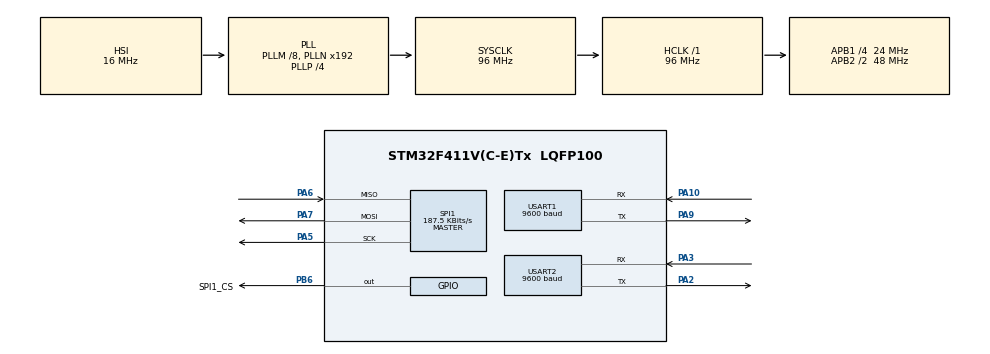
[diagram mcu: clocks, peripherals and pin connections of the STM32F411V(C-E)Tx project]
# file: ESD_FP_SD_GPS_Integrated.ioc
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Mcu.Family=STM32F4
Mcu.Name=STM32F411V(C-E)Tx
Mcu.Package=LQFP100
NVIC.PriorityGroup=NVIC_PRIORITYGROUP_0
NVIC.USART1_IRQn=true\:0\:0\:false\:false\:true\:true\:true\:true
PA10.Mode=Asynchronous
PA10.Signal=USART1_RX
PA13.Mode=Serial_Wire
PA13.Signal=SYS_JTMS-SWDIO
PA14.Mode=Serial_Wire
PA14.Signal=SYS_JTCK-SWCLK
PA2.Mode=Asynchronous
PA2.Signal=USART2_TX
PA3.Mode=Asynchronous
PA3.Signal=USART2_RX
PA5.GPIO_PuPd=GPIO_PULLUP
PA5.Mode=Full_Duplex_Master
PA5.Signal=SPI1_SCK
PA6.GPIO_PuPd=GPIO_PULLUP
PA6.Mode=Full_Duplex_Master
PA6.Signal=SPI1_MISO
PA7.GPIO_PuPd=GPIO_PULLUP
PA7.Mode=Full_Duplex_Master
PA7.Signal=SPI1_MOSI
PA9.Mode=Asynchronous
PA9.Signal=USART1_TX
PB6.GPIO_Label=SPI1_CS
PB6.GPIO_PuPd=GPIO_PULLUP
PB6.PinState=GPIO_PIN_SET
PB6.Signal=GPIO_Output
PC14-OSC32_IN.Mode=LSE-External-Oscillator
PC14-OSC32_IN.Signal=RCC_OSC32_IN
PC15-OSC32_OUT.Mode=LSE-External-Oscillator
PC15-OSC32_OUT.Signal=RCC_OSC32_OUT
PH0\ -\ OSC_IN.Mode=HSE-External-Oscillator
PH0\ -\ OSC_IN.Signal=RCC_OSC_IN
PH1\ -\ OSC_OUT.Mode=HSE-External-Oscillator
PH1\ -\ OSC_OUT.Signal=RCC_OSC_OUT
ProjectManager.HeapSize=0x200
ProjectManager.StackSize=0x400
ProjectManager.TargetToolchain=STM32CubeIDE
RCC.48MHZClocksFreq_Value=48000000
RCC.AHBFreq_Value=96000000
RCC.APB1CLKDivider=RCC_HCLK_DIV4
RCC.APB1Freq_Value=24000000
RCC.APB1TimFreq_Value=48000000
RCC.APB2CLKDivider=RCC_HCLK_DIV2
RCC.APB2Freq_Value=48000000
RCC.APB2TimFreq_Value=96000000
RCC.CortexFreq_Value=96000000
RCC.HCLKFreq_Value=96000000
RCC.HSE_VALUE=8000000
RCC.HSI_VALUE=16000000
RCC.PLLI2SM=5
RCC.PLLI2SN=200
RCC.PLLM=8
RCC.PLLP=RCC_PLLP_DIV4
RCC.PLLQ=8
RCC.SYSCLKFreq_VALUE=96000000
RCC.SYSCLKSource=RCC_SYSCLKSOURCE_PLLCLK
RCC.VCOOutputFreq_Value=384000000
SPI1.BaudRatePrescaler=SPI_BAUDRATEPRESCALER_256
SPI1.CalculateBaudRate=187.5 KBits/s
SPI1.Direction=SPI_DIRECTION_2LINES
SPI1.Mode=SPI_MODE_MASTER
SPI1.VirtualType=VM_MASTER
USART1.BaudRate=9600
USART1.VirtualMode=VM_ASYNC
USART2.BaudRate=9600
USART2.VirtualMode=VM_ASYNC
VP_FATFS_VS_Generic.Mode=User_defined
board=STM32F411E-DISCO

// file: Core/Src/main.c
/* USER CODE BEGIN Header */
/**
  ******************************************************************************
  * @file           : main.c
  * @brief          : Main program body
  ******************************************************************************
  * @attention
  *
  * Copyright (c) 2024 STMicroelectronics.
  * All rights reserved.
  *
  * This software is licensed under terms that can be found in the LICENSE file
  * in the root directory of this software component.
  * If no LICENSE file comes with this software, it is provided AS-IS.
  *
  ******************************************************************************
  */
/* USER CODE END Header */
#include "main.h"
#include "fatfs.h"

/* USER CODE BEGIN Includes */
#include <stdio.h>
#include <string.h>
#include <stdarg.h>
#include "uartRingBuffer.h"
#include "NMEA.h"
/* USER CODE END Includes */

SPI_HandleTypeDef hspi1;

UART_HandleTypeDef huart1;
UART_HandleTypeDef huart2;

/* USER CODE BEGIN PV */
void myprintf(const char *fmt, ...);
/* USER CODE END PV */

void SystemClock_Config(void);
static void MX_GPIO_Init(void);
static void MX_SPI1_Init(void);
static void MX_USART1_UART_Init(void);
static void MX_USART2_UART_Init(void);

/* USER CODE BEGIN 0 */
void myprintf(const char *fmt, ...) {
  static char buffer[256];
  va_list args;
  va_start(args, fmt);
  vsnprintf(buffer, sizeof(buffer), fmt, args);
  va_end(args);

  int len = strlen(buffer);
  HAL_UART_Transmit(&huart2, (uint8_t*)buffer, len, -1);
}

char GGA[100];
char RMC[100];

GPSSTRUCT gpsData;

int flagGGA = 0, flagRMC = 0;
char lcdBuffer [100];

volatile int count = 0;

int VCCTimeout = 5000; // GGA or RMC will not be received if the VCC is not sufficient

char* parse_gps_output()
{
	 count++;
	  if (Wait_for("GGA") == 1)
	  {
		  VCCTimeout = 5000;  // Reset the VCC Timeout indicating the GGA is being received

		  Copy_upto("*", GGA);
		  if (decodeGGA(GGA, &gpsData.ggastruct) == 0) flagGGA = 2;  // 2 indicates the data is valid
		  else flagGGA = 1;  // 1 indicates the data is invalid
	  }

	  if ((flagGGA == 2) | (flagRMC == 2))
	  {
		  memset(lcdBuffer, '\0', 50);
		  //lcd_put_cur(1, 0);
		  sprintf (lcdBuffer, "%.2f%c, %.2f%c  ", gpsData.ggastruct.lcation.latitude, gpsData.ggastruct.lcation.NS,\
				  gpsData.ggastruct.lcation.longitude, gpsData.ggastruct.lcation.EW);
		  myprintf("\r\n %s", lcdBuffer);
		  HAL_UART_Transmit(&huart2, lcdBuffer, sizeof(lcdBuffer), 100);
//	 		  lcd_send_string(lcdBuffer);
	  }
	  return lcdBuffer;
}

void sd_card_load(char buffer[], int size)
{
	 myprintf("\r\n~ SD card demo by kiwih ~\r\n\r\n");

	   HAL_Delay(1000); //a short delay is important to let the SD card settle

//	   //some variables for FatFs
	   FATFS FatFs; 	//Fatfs handle
	   FIL fil; 		//File handle
	   FRESULT fres; //Result after operations

//	   //Open the file system
	   fres = f_mount(&FatFs, "", 1); //1=mount now
	   myprintf("Mount status is %d", fres);
	//   if (fres != FR_OK) {
	// 	myprintf("f_mount error (%i)\r\n", fres);
	// 	while(1);
	//   }
	   HAL_Delay(1000);

//	   //Let's get some statistics from the SD card
	   DWORD free_clusters, free_sectors, total_sectors;

	   FATFS* getFreeFs;
//
	   fres = f_getfree("", &free_clusters, &getFreeFs);
	   myprintf("Free status is %d", fres);
////	   if (fres != FR_OK) {
////	 	myprintf("f_getfree error (%i)\r\n", fres);
////	 	while(1);
////	   }
//	   myprintf("SD Card Part");
//
	   //Formula comes from ChaN's documentation
	   total_sectors = (getFreeFs->n_fatent - 2) * getFreeFs->csize;
	   free_sectors = free_clusters * getFreeFs->csize;

	   myprintf("SD card stats:\r\n%10lu KiB total drive space.\r\n%10lu KiB available.\r\n", total_sectors / 2, free_sectors / 2);

	   BYTE readBuf[size];

	   //Now let's try and write a file "write.txt"
	   fres = f_open(&fil, "gps_data.txt", FA_WRITE | FA_OPEN_ALWAYS | FA_CREATE_ALWAYS);
	   if(fres == FR_OK) {
	 	myprintf("I was able to open 'write.txt' for writing\r\n");
	   } else {
	 	myprintf("f_open error (%i)\r\n", fres);
	   }

	   //Copy in a string
	   strncpy((char*)readBuf, buffer, size);
	   UINT bytesWrote;
	   fres = f_write(&fil, readBuf, size, &bytesWrote);
	   if(fres == FR_OK) {
	 	myprintf("Wrote %i bytes to 'write.txt'!\r\n", bytesWrote);
	   } else {
	 	myprintf("f_write error (%i)\r\n", fres);
	   }

	   //Be a tidy kiwi - don't forget to close your file!
	   f_close(&fil);

	   //We're done, so de-mount the drive
	   f_mount(NULL, "", 0);
}

/* USER CODE END 0 */

int main(void)
{

  /* MCU Configuration--------------------------------------------------------*/

  /* Reset of all peripherals, Initializes the Flash interface and the Systick. */
  HAL_Init();

  /* Configure the system clock */
  SystemClock_Config();

  /* Initialize all configured peripherals */
  MX_GPIO_Init();
  MX_SPI1_Init();
  MX_USART1_UART_Init();
  MX_USART2_UART_Init();
  MX_FATFS_Init();
  /* USER CODE BEGIN 2 */

  Ringbuf_init();
  HAL_Delay (500);
//  char data[] = {"This is ESD Final Project"};
//  sd_card_load(data, sizeof(data));
  /* USER CODE END 2 */

  /* Infinite loop */
  /* USER CODE BEGIN WHILE */
 // while(1){}
 while (1)
  {
    /* USER CODE END WHILE */
	  char* data = parse_gps_output();
	  if (count % 50 == 0){
		  sd_card_load(data, sizeof(data));
	  }
  }
  /* USER CODE END 3 */
}

void SystemClock_Config(void)
{
  RCC_OscInitTypeDef RCC_OscInitStruct = {0};
  RCC_ClkInitTypeDef RCC_ClkInitStruct = {0};

  /** Configure the main internal regulator output voltage
  */
  __HAL_RCC_PWR_CLK_ENABLE();
  __HAL_PWR_VOLTAGESCALING_CONFIG(PWR_REGULATOR_VOLTAGE_SCALE1);

  /** Initializes the RCC Oscillators according to the specified parameters
  * in the RCC_OscInitTypeDef structure.
  */
  RCC_OscInitStruct.OscillatorType = RCC_OSCILLATORTYPE_HSI;
  RCC_OscInitStruct.HSIState = RCC_HSI_ON;
  RCC_OscInitStruct.HSICalibrationValue = RCC_HSICALIBRATION_DEFAULT;
  RCC_OscInitStruct.PLL.PLLState = RCC_PLL_ON;
  RCC_OscInitStruct.PLL.PLLSource = RCC_PLLSOURCE_HSI;
  RCC_OscInitStruct.PLL.PLLM = 8;
  RCC_OscInitStruct.PLL.PLLN = 192;
  RCC_OscInitStruct.PLL.PLLP = RCC_PLLP_DIV4;
  RCC_OscInitStruct.PLL.PLLQ = 8;
  if (HAL_RCC_OscConfig(&RCC_OscInitStruct) != HAL_OK)
  {
    Error_Handler();
  }

  /** Initializes the CPU, AHB and APB buses clocks
  */
  RCC_ClkInitStruct.ClockType = RCC_CLOCKTYPE_HCLK|RCC_CLOCKTYPE_SYSCLK
                              |RCC_CLOCKTYPE_PCLK1|RCC_CLOCKTYPE_PCLK2;
  RCC_ClkInitStruct.SYSCLKSource = RCC_SYSCLKSOURCE_PLLCLK;
  RCC_ClkInitStruct.AHBCLKDivider = RCC_SYSCLK_DIV1;
  RCC_ClkInitStruct.APB1CLKDivider = RCC_HCLK_DIV4;
  RCC_ClkInitStruct.APB2CLKDivider = RCC_HCLK_DIV2;

  if (HAL_RCC_ClockConfig(&RCC_ClkInitStruct, FLASH_LATENCY_3) != HAL_OK)
  {
    Error_Handler();
  }
}

static void MX_SPI1_Init(void)
{

  /* SPI1 parameter configuration*/
  hspi1.Instance = SPI1;
  hspi1.Init.Mode = SPI_MODE_MASTER;
  hspi1.Init.Direction = SPI_DIRECTION_2LINES;
  hspi1.Init.DataSize = SPI_DATASIZE_8BIT;
  hspi1.Init.CLKPolarity = SPI_POLARITY_LOW;
  hspi1.Init.CLKPhase = SPI_PHASE_1EDGE;
  hspi1.Init.NSS = SPI_NSS_SOFT;
  hspi1.Init.BaudRatePrescaler = SPI_BAUDRATEPRESCALER_256;
  hspi1.Init.FirstBit = SPI_FIRSTBIT_MSB;
  hspi1.Init.TIMode = SPI_TIMODE_DISABLE;
  hspi1.Init.CRCCalculation = SPI_CRCCALCULATION_DISABLE;
  hspi1.Init.CRCPolynomial = 10;
  if (HAL_SPI_Init(&hspi1) != HAL_OK)
  {
    Error_Handler();
  }

}

static void MX_USART1_UART_Init(void)
{

  huart1.Instance = USART1;
  huart1.Init.BaudRate = 9600;
  huart1.Init.WordLength = UART_WORDLENGTH_8B;
  huart1.Init.StopBits = UART_STOPBITS_1;
  huart1.Init.Parity = UART_PARITY_NONE;
  huart1.Init.Mode = UART_MODE_TX_RX;
  huart1.Init.HwFlowCtl = UART_HWCONTROL_NONE;
  huart1.Init.OverSampling = UART_OVERSAMPLING_16;
  if (HAL_UART_Init(&huart1) != HAL_OK)
  {
    Error_Handler();
  }

}

static void MX_USART2_UART_Init(void)
{

  huart2.Instance = USART2;
  huart2.Init.BaudRate = 9600;
  huart2.Init.WordLength = UART_WORDLENGTH_8B;
  huart2.Init.StopBits = UART_STOPBITS_1;
  huart2.Init.Parity = UART_PARITY_NONE;
  huart2.Init.Mode = UART_MODE_TX_RX;
  huart2.Init.HwFlowCtl = UART_HWCONTROL_NONE;
  huart2.Init.OverSampling = UART_OVERSAMPLING_16;
  if (HAL_UART_Init(&huart2) != HAL_OK)
  {
    Error_Handler();
  }

}

static void MX_GPIO_Init(void)
{
  GPIO_InitTypeDef GPIO_InitStruct = {0};

  /* GPIO Ports Clock Enable */
  __HAL_RCC_GPIOC_CLK_ENABLE();
  __HAL_RCC_GPIOH_CLK_ENABLE();
  __HAL_RCC_GPIOA_CLK_ENABLE();
  __HAL_RCC_GPIOB_CLK_ENABLE();

  /*Configure GPIO pin Output Level */
  HAL_GPIO_WritePin(SPI1_CS_GPIO_Port, SPI1_CS_Pin, GPIO_PIN_SET);

  /*Configure GPIO pin : SPI1_CS_Pin */
  GPIO_InitStruct.Pin = SPI1_CS_Pin;
  GPIO_InitStruct.Mode = GPIO_MODE_OUTPUT_PP;
  GPIO_InitStruct.Pull = GPIO_PULLUP;
  GPIO_InitStruct.Speed = GPIO_SPEED_FREQ_LOW;
  HAL_GPIO_Init(SPI1_CS_GPIO_Port, &GPIO_InitStruct);

}

void Error_Handler(void)
{
  __disable_irq();
  while (1)
  {
  }
}
